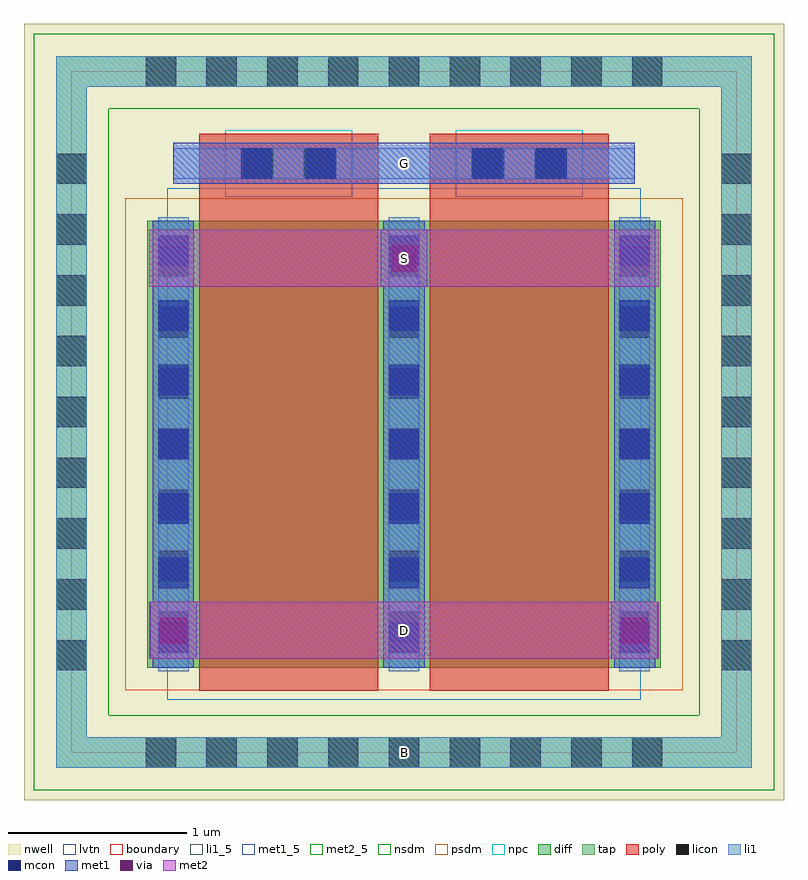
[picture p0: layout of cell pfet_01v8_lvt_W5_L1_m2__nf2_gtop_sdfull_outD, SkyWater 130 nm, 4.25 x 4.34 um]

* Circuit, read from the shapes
.subckt pfet_01v8_lvt_W5_L1_m2__nf2_gtop_sdfull_outD B D G S
XM1 S G D B sky130_fd_pr__pfet_01v8_lvt w=2.5 l=1 m=2
.ends

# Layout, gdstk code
import gdstk
lib = gdstk.Library(unit=1e-6, precision=1e-09)
def R(c, l, rs):  # rectangles x0, y0, x1, y1
    for r in rs: c.add(gdstk.rectangle(r[:2], r[2:], *l))
def A(c, l, x, y, w, h, nx, ny, dx, dy):  # array of equal rectangles
    R(c, l, [(x+i*dx, y+j*dy, x+i*dx+w, y+j*dy+h) for i in range(nx) for j in range(ny)])
nwell = (64, 20)
diff = (65, 20)
tap = (65, 44)
poly = (66, 20)
licon = (66, 44)
li1_5 = (67, 5)
li1 = (67, 20)
mcon = (67, 44)
met1_5 = (68, 5)
met1 = (68, 20)
via = (68, 44)
met2_5 = (69, 5)
met2 = (69, 20)
nsdm = (93, 44)
psdm = (94, 20)
npc = (95, 20)
lvtn = (125, 44)
boundary = (235, 4)

sky130_fd_pr__pfet_01v8_ = lib.new_cell('sky130_fd_pr__pfet_01v8_lvt_6SNFZP')
R(sky130_fd_pr__pfet_01v8_, nwell, [(-2.125,-2.17,2.125,2.17)])
R(sky130_fd_pr__pfet_01v8_, diff, [(-1.435,-1.43,1.435,1.07)])
R(sky130_fd_pr__pfet_01v8_, tap, [(-1.945,-1.99,1.945,-1.82), (-1.945,-1.82,-1.775,1.82), (1.775,-1.82,1.945,1.82), (-1.945,1.82,1.945,1.99)])
R(sky130_fd_pr__pfet_01v8_, poly, [(-1.145,-1.56,-0.145,1.555), (0.145,-1.56,1.145,1.555)])
A(sky130_fd_pr__pfet_01v8_, licon, -1.445, -1.99, 0.17, 0.17, 9, 2, 0.34, 3.81)
A(sky130_fd_pr__pfet_01v8_, licon, -1.945, -1.445, 0.17, 0.17, 1, 9, 0, 0.34)
A(sky130_fd_pr__pfet_01v8_, licon, 1.775, -1.445, 0.17, 0.17, 1, 9, 0, 0.34)
A(sky130_fd_pr__pfet_01v8_, licon, -1.375, -1.285, 0.17, 0.17, 3, 7, 1.29, 0.34)
R(sky130_fd_pr__pfet_01v8_, licon, [(-0.9,1.305,-0.73,1.475), (-0.56,1.305,-0.39,1.475), (0.39,1.305,0.56,1.475), (0.73,1.305,0.9,1.475)])
A(sky130_fd_pr__pfet_01v8_, li1, -1.375, -1.45, 0.17, 2.54, 3, 1, 1.29, 0)
R(sky130_fd_pr__pfet_01v8_, li1, [(-1.945,-1.99,1.945,-1.82), (-1.945,-1.82,-1.775,1.82), (1.775,-1.82,1.945,1.82), (-1.29,1.305,1.29,1.475), (-1.945,1.82,1.945,1.99)])
A(sky130_fd_pr__pfet_01v8_, mcon, -1.375, -1.345, 0.17, 0.17, 3, 7, 1.29, 0.36)
R(sky130_fd_pr__pfet_01v8_, mcon, [(-0.91,1.305,-0.74,1.475), (-0.55,1.305,-0.38,1.475), (0.38,1.305,0.55,1.475), (0.74,1.305,0.91,1.475)])
A(sky130_fd_pr__pfet_01v8_, met1, -1.405, -1.43, 0.23, 2.5, 3, 1, 1.29, 0)
R(sky130_fd_pr__pfet_01v8_, met1, [(-1.125,1.275,-0.165,1.305), (0.165,1.275,1.125,1.305), (-1.29,1.305,1.29,1.475), (-1.125,1.475,-0.165,1.505), (0.165,1.475,1.125,1.505)])
R(sky130_fd_pr__pfet_01v8_, nsdm, [(-2.07,-2.115,2.07,-1.695), (-2.07,-1.695,-1.65,1.695), (1.65,-1.695,2.07,1.695), (-2.07,1.695,2.07,2.115)])
R(sky130_fd_pr__pfet_01v8_, psdm, [(-1.56,-1.555,1.56,1.195)])
R(sky130_fd_pr__pfet_01v8_, npc, [(-1,1.205,-0.29,1.575), (0.29,1.205,1,1.575)])
R(sky130_fd_pr__pfet_01v8_, lvtn, [(-1.325,-1.61,1.325,1.25)])
R(sky130_fd_pr__pfet_01v8_, boundary, [(-1.86,-1.905,1.86,1.905)])
sky130_fd_pr__pfet_01v8_.add(gdstk.Label('B', (0,-1.905), layer=67, texttype=5))
sky130_fd_pr__pfet_01v8_.add(gdstk.Label('D0', (-1.29,-0.18), layer=67, texttype=5))
sky130_fd_pr__pfet_01v8_.add(gdstk.Label('G', (0.645,1.39), layer=67, texttype=5))
sky130_fd_pr__pfet_01v8_.add(gdstk.Label('G', (-0.645,1.39), layer=67, texttype=5))
sky130_fd_pr__pfet_01v8_.add(gdstk.Label('S1', (0,-0.18), layer=67, texttype=5))

pfet_01v8_lvt_w5_l1_m2__ = lib.new_cell('pfet_01v8_lvt_W5_L1_m2__nf2_gtop_sdfull_outD')
R(pfet_01v8_lvt_w5_l1_m2__, li1_5, [(1.775,-0.085,1.945,0.085)])
R(pfet_01v8_lvt_w5_l1_m2__, li1, [(1.775,-0.085,1.945,0.085)])
R(pfet_01v8_lvt_w5_l1_m2__, met1_5, [(0.57,3.18,3.15,3.41)])
R(pfet_01v8_lvt_w5_l1_m2__, met1, [(0.44,0.525,0.7,0.845), (3.02,0.525,3.28,0.845), (1.73,2.605,1.99,2.925), (0.57,3.18,3.15,3.41)])
R(pfet_01v8_lvt_w5_l1_m2__, via, [(0.495,0.61,0.645,0.76), (3.075,0.61,3.225,0.76), (1.785,2.69,1.935,2.84)])
R(pfet_01v8_lvt_w5_l1_m2__, met2_5, [(0.435,0.525,3.285,0.845), (0.435,2.605,3.285,2.925)])
R(pfet_01v8_lvt_w5_l1_m2__, met2, [(0.435,0.525,3.285,0.845), (0.435,2.605,3.285,2.925)])
pfet_01v8_lvt_w5_l1_m2__.add(gdstk.Reference(sky130_fd_pr__pfet_01v8_, (1.86,1.905)))
pfet_01v8_lvt_w5_l1_m2__.add(gdstk.Label('S', (1.86,2.765), layer=69, texttype=5))
pfet_01v8_lvt_w5_l1_m2__.add(gdstk.Label('D', (1.86,0.685), layer=69, texttype=5))
pfet_01v8_lvt_w5_l1_m2__.add(gdstk.Label('G', (1.86,3.295), layer=68, texttype=5))
pfet_01v8_lvt_w5_l1_m2__.add(gdstk.Label('B', (1.86,0), layer=67, texttype=5))

lib.write_gds('pfet_01v8_lvt_W5_L1_m2__nf2_gtop_sdfull_outD.gds')
